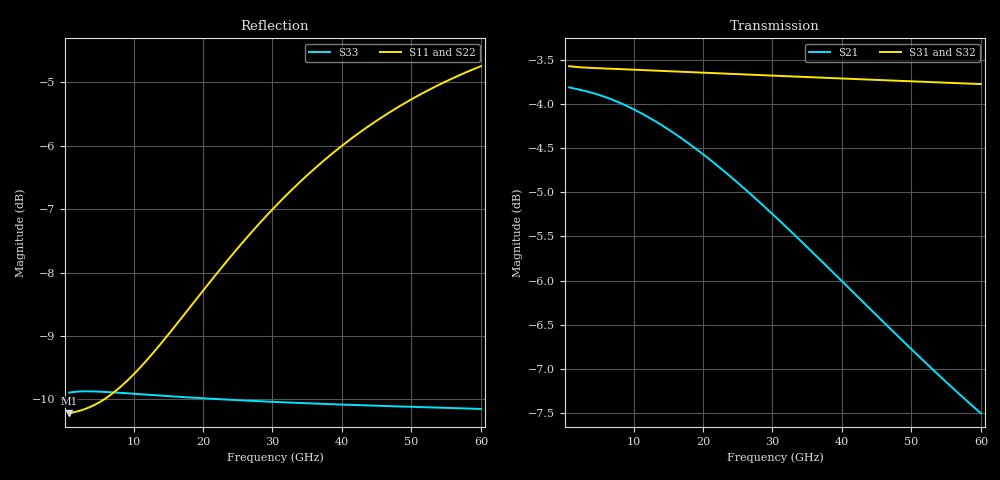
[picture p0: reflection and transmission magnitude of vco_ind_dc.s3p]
! Created with skrf 2.1.0 (http://scikit-rf.org).
# GHz S DB R 50.0
!freq dBS11 angS11 dBS12 angS12 dBS13 angS13
! dBS21 angS21 dBS22 angS22 dBS23 angS23
! dBS31 angS31 dBS32 angS32 dBS33 angS33
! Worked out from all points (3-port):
!   82 points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, 731.7 MHz to 60 GHz, reference 50 ohm
!   strongest paths, dB at 731.7 MHz, 15.37 GHz, 30.73 GHz, 45.37 GHz, 60 GHz:
!     S31: -3.6, -3.6, -3.7, -3.7, -3.8
!     S32: -3.7, -3.7, -3.7, -3.8, -3.8
!     S21: -3.8, -4.3, -5.3, -6.4, -7.5
!   lowest |S11| = -10.2 dB at 731.7 MHz (marker M1), VSWR 1.89, Z = 26.4 + j0.949 ohm
!   |S11| at or under -10 dB: start of sweep to 5.746 GHz
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0.7317073  -10.22 177.0  -3.81 -1.6  -3.57 -0.3
           -3.81 -1.6  -10.39 176.9  -3.65 -0.3
           -3.57 -0.3  -3.65 -0.3  -9.89 179.6
4.390244  -10.09 161.8  -3.88 -8.9  -3.60 -1.5
          -3.88 -8.9  -10.25 161.6  -3.67 -1.4
          -3.60 -1.5  -3.67 -1.4  -9.87 177.3
8.04878  -9.81 147.5  -3.99 -16.0  -3.61 -2.6
         -3.99 -16.0  -9.96 147.1  -3.68 -2.5
         -3.61 -2.6  -3.68 -2.5  -9.89 174.9
16.09756  -8.83 120.2  -4.35 -31.2  -3.63 -5.0
          -4.35 -31.2  -8.94 119.6  -3.70 -4.9
          -3.63 -5.0  -3.70 -4.9  -9.95 170.2
23.41463  -7.82 100.5  -4.79 -44.3  -3.66 -7.2
          -4.79 -44.3  -7.91 99.8  -3.72 -7.1
          -3.66 -7.2  -3.72 -7.1  -10.00 166.0
30.73171  -6.92 84.5  -5.30 -56.8  -3.68 -9.4
          -5.30 -56.8  -6.99 83.8  -3.74 -9.3
          -3.68 -9.4  -3.74 -9.3  -10.04 162.0
37.31707  -6.24 72.6  -5.80 -67.6  -3.70 -11.4
          -5.80 -67.6  -6.30 71.8  -3.75 -11.3
          -3.70 -11.4  -3.75 -11.3  -10.07 158.5
43.90244  -5.68 62.3  -6.31 -77.9  -3.73 -13.4
          -6.31 -77.9  -5.73 61.5  -3.76 -13.3
          -3.73 -13.4  -3.76 -13.3  -10.09 155.0
51.21951  -5.19 52.4  -6.87 -88.9  -3.75 -15.6
          -6.87 -88.9  -5.24 51.5  -3.78 -15.5
          -3.75 -15.6  -3.78 -15.5  -10.12 151.3
60  -4.74 42.0  -7.50 -101.6  -3.78 -18.3
    -7.50 -101.6  -4.79 41.0  -3.80 -18.4
    -3.78 -18.3  -3.80 -18.4  -10.15 146.9
